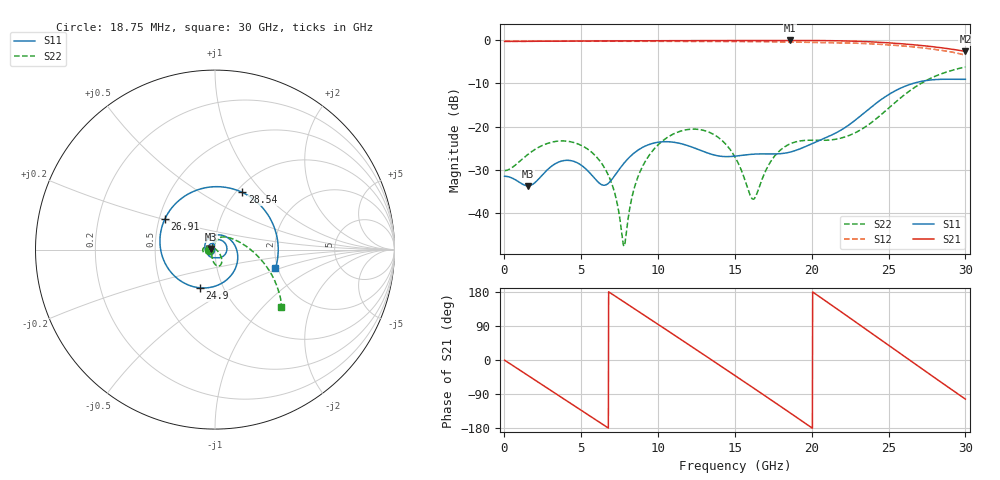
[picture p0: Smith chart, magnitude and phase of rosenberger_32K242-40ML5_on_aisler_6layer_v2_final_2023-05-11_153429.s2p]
#  Hz  S  RI  R  50
! comment_to_be_done
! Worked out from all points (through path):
!   1600 points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, 18.75 MHz to 30 GHz, reference 50 ohm
!   highest |S21| = -0.08 dB at 18.6 GHz (marker M1); lowest = -2.6 dB at 30 GHz (marker M2)
!   group delay of S21, straight-line fit = 76.2 ps
!   lowest |S11| = -33.7 dB at 1.538 GHz (marker M3), VSWR 1.04, Z = 48 + j0.309 ohm
!   |S11| at or under -10 dB: start of sweep to 26.59 GHz
!   |S22| runs from -47.6 to -6.2 dB; largest |S21 - S12| = 0.074
!   S11 on the Smith chart (normalised r, x): 18.75 MHz: 0.95, +0.00; 24.9 GHz: 0.78, -0.35; 26.91 GHz: 0.54, +0.20; 28.54 GHz: 1.07, +0.78; 30 GHz: 1.94, -0.46
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1.875e7  -0.0268 0.000168  0.967 -0.00841  0.9686 -0.00852  -0.0311 -0.000301
1.5375e9  -0.0205 0.00322  0.7336 -0.6323  0.7353 -0.6322  -0.0441 -0.0187
3.31875e9  -0.0351 0.013  0.0367 -0.9717  0.0344 -0.9697  -0.0668 -0.0105
5.025e9  -0.012 0.0337  -0.6686 -0.7124  -0.6647 -0.706  -0.0592 0.0134
6.7875e9  -0.00887 0.0205  -0.9786 0.00167  -0.9698 0.00164  -0.0215 0.0165
7.78125e9  -0.0127 0.0357  -0.8764 0.4379  -0.8676 0.434  0.00243 0.0034
8.64375e9  0.00482 0.0526  -0.6365 0.7463  -0.6281 0.7381  0.02 -0.0148
1.00125e10  0.0538 0.0386  -0.0663 0.9809  -0.0637 0.965  0.0365 -0.05
1.12875e10  0.0639 -0.0117  0.4979 0.8501  0.4877 0.832  0.0351 -0.0793
1.275e10  0.0309 -0.0437  0.9265 0.3409  0.9025 0.3352  0.0152 -0.0912
1.501875e10  -0.00606 -0.0454  0.742 -0.6532  0.726 -0.6335  -0.0168 -0.041
1.621875e10  -0.0257 -0.0408  0.2711 -0.9514  0.2647 -0.9249  -0.0139 0.00448
1.738125e10  -0.0407 -0.0264  -0.2729 -0.952  -0.2653 -0.9199  0.00165 0.0409
1.86e10  -0.0503 -0.00809  -0.7557 -0.641  -0.7256 -0.614  0.019 0.0606
2.000625e10  -0.0548 0.0321  -0.9894 -0.0186  -0.9418 -0.0207  0.0267 0.0646
2.1225e10  -0.00676 0.0788  -0.824 0.5402  -0.786 0.506  0.0259 0.0654
2.263125e10  0.1084 0.0271  -0.2809 0.9324  -0.2769 0.8814  0.0423 0.0702
2.49e10  -0.0832 -0.213  0.6954 0.6217  0.6539 0.5941  0.1549 0.031
2.50125e10  -0.1071 -0.2096  0.7271 0.5799  0.6843 0.5545  0.1624 0.0262
2.690625e10  -0.2794 0.1705  0.8424 -0.2349  0.7947 -0.2226  0.2858 -0.0929
2.85375e10  0.1515 0.3189  0.3804 -0.7171  0.3448 -0.6746  0.3509 -0.2206
3e10  0.337 -0.1042  -0.1688 -0.7217  -0.1732 -0.6475  0.3693 -0.322
